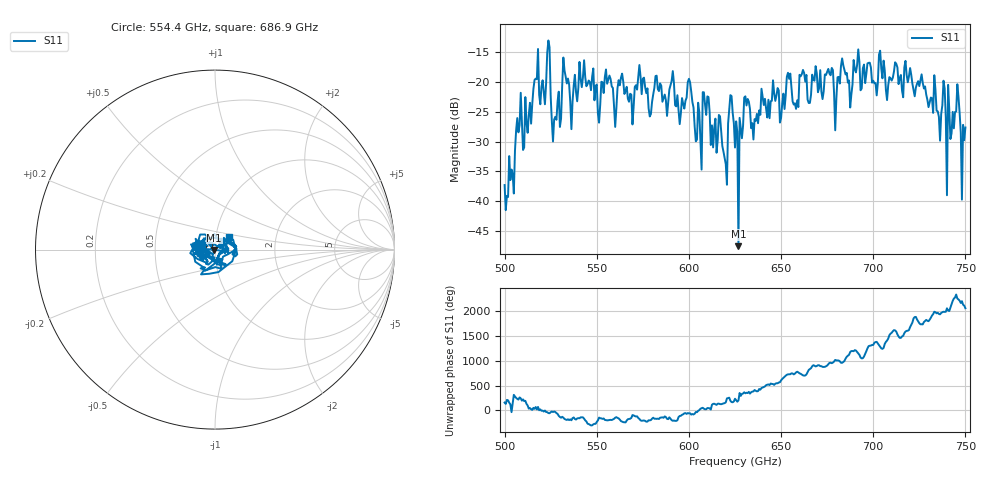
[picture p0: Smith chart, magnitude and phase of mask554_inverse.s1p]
!Created with skrf (http://scikit-rf.org).
# GHz S MA R 50.0
!freq magS11 angS11
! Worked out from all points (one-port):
!   401 points, 500 GHz to 750 GHz, reference 50 ohm
!   lowest |S11| = -47.6 dB at 626.9 GHz (marker M1), VSWR 1.01, Z = 49.6 - j0.155 ohm
!   |S11| at or under -10 dB: start of sweep to end of sweep
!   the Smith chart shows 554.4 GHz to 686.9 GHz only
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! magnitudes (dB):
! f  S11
! 500 GHz  -37.3
! 516.9 GHz  -19.4
! 520.6 GHz  -19.7
! 523.8 GHz  -13.0
! 526.9 GHz  -26.3
! 531.2 GHz  -20.5
! 560 GHz  -27.5
! 562.5 GHz  -20.5
! 579.4 GHz  -25.4
! 590.6 GHz  -19.8
! 593.8 GHz  -22.2
! 600.6 GHz  -20.0
! 605.6 GHz  -25.1
! 609.4 GHz  -25.5
! 619.4 GHz  -32.8
! 622.5 GHz  -22.2
! 625 GHz  -31.0
! 626.9 GHz  -47.6
! 631.2 GHz  -23.9
! 635 GHz  -29.7
! 656.2 GHz  -23.2
! 676.9 GHz  -18.8
! 680 GHz  -22.7
! 683.8 GHz  -17.2
! 687.5 GHz  -24.3
! 690.6 GHz  -18.4
! 718.8 GHz  -20.0
! 750 GHz  -27.6
